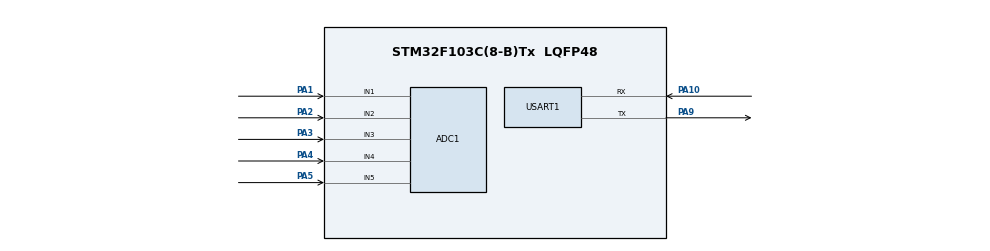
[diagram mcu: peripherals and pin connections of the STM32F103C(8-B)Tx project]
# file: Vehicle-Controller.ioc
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ADC1.Channel-10\#ChannelRegularConversion=ADC_CHANNEL_1
ADC1.Channel-11\#ChannelRegularConversion=ADC_CHANNEL_2
ADC1.Channel-12\#ChannelRegularConversion=ADC_CHANNEL_3
ADC1.Channel-13\#ChannelRegularConversion=ADC_CHANNEL_4
ADC1.Channel-14\#ChannelRegularConversion=ADC_CHANNEL_5
ADC1.ContinuousConvMode=ENABLE
ADC1.EnableRegularConversion=ENABLE
ADC1.NbrOfConversion=5
ADC1.NbrOfConversionFlag=1
ADC1.Rank-10\#ChannelRegularConversion=1
ADC1.Rank-11\#ChannelRegularConversion=2
ADC1.Rank-12\#ChannelRegularConversion=3
ADC1.Rank-13\#ChannelRegularConversion=4
ADC1.Rank-14\#ChannelRegularConversion=5
ADC1.SamplingTime-10\#ChannelRegularConversion=ADC_SAMPLETIME_28CYCLES_5
ADC1.SamplingTime-11\#ChannelRegularConversion=ADC_SAMPLETIME_28CYCLES_5
ADC1.SamplingTime-12\#ChannelRegularConversion=ADC_SAMPLETIME_28CYCLES_5
ADC1.SamplingTime-13\#ChannelRegularConversion=ADC_SAMPLETIME_28CYCLES_5
ADC1.SamplingTime-14\#ChannelRegularConversion=ADC_SAMPLETIME_28CYCLES_5
ADC1.master=1
Dma.ADC1.0.Direction=DMA_PERIPH_TO_MEMORY
Dma.ADC1.0.Instance=DMA1_Channel1
Dma.ADC1.0.MemDataAlignment=DMA_MDATAALIGN_HALFWORD
Dma.ADC1.0.MemInc=DMA_MINC_ENABLE
Dma.ADC1.0.Mode=DMA_CIRCULAR
Dma.ADC1.0.PeriphDataAlignment=DMA_PDATAALIGN_HALFWORD
Dma.ADC1.0.PeriphInc=DMA_PINC_DISABLE
Dma.ADC1.0.Priority=DMA_PRIORITY_LOW
Dma.Request0=ADC1
Mcu.Family=STM32F1
Mcu.Name=STM32F103C(8-B)Tx
Mcu.Package=LQFP48
NVIC.DMA1_Channel1_IRQn=true\:0\:0\:false\:false\:true\:false\:true\:true
NVIC.PriorityGroup=NVIC_PRIORITYGROUP_4
PA1.Signal=ADCx_IN1
PA10.Mode=Asynchronous
PA10.Signal=USART1_RX
PA2.Signal=ADCx_IN2
PA3.Signal=ADCx_IN3
PA4.Signal=ADCx_IN4
PA5.Signal=ADCx_IN5
PA9.Mode=Asynchronous
PA9.Signal=USART1_TX
ProjectManager.HeapSize=0x200
ProjectManager.StackSize=0x400
ProjectManager.TargetToolchain=STM32CubeIDE
RCC.APB1Freq_Value=8000000
RCC.APB2Freq_Value=8000000
SH.ADCx_IN1.0=ADC1_IN1,IN1
SH.ADCx_IN2.0=ADC1_IN2,IN2
SH.ADCx_IN3.0=ADC1_IN3,IN3
SH.ADCx_IN4.0=ADC1_IN4,IN4
SH.ADCx_IN5.0=ADC1_IN5,IN5
USART1.VirtualMode=VM_ASYNC
board=custom

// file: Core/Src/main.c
/* USER CODE BEGIN Header */
/**
  ******************************************************************************
  * @file           : main.c
  * @brief          : Main program body
  ******************************************************************************
  * @attention
  *
  * Copyright (c) 2023 STMicroelectronics.
  * All rights reserved.
  *
  * This software is licensed under terms that can be found in the LICENSE file
  * in the root directory of this software component.
  * If no LICENSE file comes with this software, it is provided AS-IS.
  *
  ******************************************************************************
  */
/* USER CODE END Header */
#include "main.h"

ADC_HandleTypeDef hadc1;
DMA_HandleTypeDef hdma_adc1;

UART_HandleTypeDef huart1;

/* USER CODE BEGIN PV */

volatile uint16_t adc_values[5];
uint16_t sequence_number = 0;

/* USER CODE END PV */

void SystemClock_Config(void);
static void MX_GPIO_Init(void);
static void MX_DMA_Init(void);
static void MX_USART1_UART_Init(void);
static void MX_ADC1_Init(void);

/* USER CODE BEGIN 0 */

// set printf's output to UART
int __io_putchar(int ch) {

	if(ch == '\n')
		HAL_UART_Transmit(&huart1, (uint8_t*)&"\r", 1, HAL_MAX_DELAY);

	HAL_UART_Transmit(&huart1, (uint8_t*)&ch, 1, HAL_MAX_DELAY);
	return ch;
}

/* USER CODE END 0 */

int main(void)
{

  /* MCU Configuration--------------------------------------------------------*/

  /* Reset of all peripherals, Initializes the Flash interface and the Systick. */
  HAL_Init();

  /* Configure the system clock */
  SystemClock_Config();

  /* Initialize all configured peripherals */
  MX_GPIO_Init();
  MX_DMA_Init();
  MX_USART1_UART_Init();
  MX_ADC1_Init();
  /* USER CODE BEGIN 2 */

  if(HAL_ADCEx_Calibration_Start(&hadc1) != HAL_OK) {
	  Error_Handler();
  }

  if(HAL_ADC_Start_DMA(&hadc1, (uint32_t*) &adc_values, 5) != HAL_OK) {
	  Error_Handler();
  }

  /* USER CODE END 2 */

  /* Infinite loop */
  /* USER CODE BEGIN WHILE */
  while (1)
  {
	  printf("sequence number   : %d\n", sequence_number);
	  printf("steering value    : %d\n", adc_values[0]);
	  printf("break pedal value : %d\n", adc_values[1]);
	  printf("gas pedal value   : %d\n", adc_values[2]);
	  printf("joy stick x value : %d\n", adc_values[3]);
	  printf("joy stick y value : %d\n", adc_values[4]);
	  printf("=============================\n");

	  HAL_Delay(1000);

    /* USER CODE END WHILE */

  }
}

void SystemClock_Config(void)
{
  RCC_OscInitTypeDef RCC_OscInitStruct = {0};
  RCC_ClkInitTypeDef RCC_ClkInitStruct = {0};
  RCC_PeriphCLKInitTypeDef PeriphClkInit = {0};

  /** Initializes the RCC Oscillators according to the specified parameters
  * in the RCC_OscInitTypeDef structure.
  */
  RCC_OscInitStruct.OscillatorType = RCC_OSCILLATORTYPE_HSI;
  RCC_OscInitStruct.HSIState = RCC_HSI_ON;
  RCC_OscInitStruct.HSICalibrationValue = RCC_HSICALIBRATION_DEFAULT;
  RCC_OscInitStruct.PLL.PLLState = RCC_PLL_NONE;
  if (HAL_RCC_OscConfig(&RCC_OscInitStruct) != HAL_OK)
  {
    Error_Handler();
  }

  /** Initializes the CPU, AHB and APB buses clocks
  */
  RCC_ClkInitStruct.ClockType = RCC_CLOCKTYPE_HCLK|RCC_CLOCKTYPE_SYSCLK
                              |RCC_CLOCKTYPE_PCLK1|RCC_CLOCKTYPE_PCLK2;
  RCC_ClkInitStruct.SYSCLKSource = RCC_SYSCLKSOURCE_HSI;
  RCC_ClkInitStruct.AHBCLKDivider = RCC_SYSCLK_DIV1;
  RCC_ClkInitStruct.APB1CLKDivider = RCC_HCLK_DIV1;
  RCC_ClkInitStruct.APB2CLKDivider = RCC_HCLK_DIV1;

  if (HAL_RCC_ClockConfig(&RCC_ClkInitStruct, FLASH_LATENCY_0) != HAL_OK)
  {
    Error_Handler();
  }
  PeriphClkInit.PeriphClockSelection = RCC_PERIPHCLK_ADC;
  PeriphClkInit.AdcClockSelection = RCC_ADCPCLK2_DIV2;
  if (HAL_RCCEx_PeriphCLKConfig(&PeriphClkInit) != HAL_OK)
  {
    Error_Handler();
  }
}

static void MX_ADC1_Init(void)
{

  ADC_ChannelConfTypeDef sConfig = {0};

  /** Common config
  */
  hadc1.Instance = ADC1;
  hadc1.Init.ScanConvMode = ADC_SCAN_ENABLE;
  hadc1.Init.ContinuousConvMode = ENABLE;
  hadc1.Init.DiscontinuousConvMode = DISABLE;
  hadc1.Init.ExternalTrigConv = ADC_SOFTWARE_START;
  hadc1.Init.DataAlign = ADC_DATAALIGN_RIGHT;
  hadc1.Init.NbrOfConversion = 5;
  if (HAL_ADC_Init(&hadc1) != HAL_OK)
  {
    Error_Handler();
  }

  /** Configure Regular Channel
  */
  sConfig.Channel = ADC_CHANNEL_1;
  sConfig.Rank = ADC_REGULAR_RANK_1;
  sConfig.SamplingTime = ADC_SAMPLETIME_28CYCLES_5;
  if (HAL_ADC_ConfigChannel(&hadc1, &sConfig) != HAL_OK)
  {
    Error_Handler();
  }

  /** Configure Regular Channel
  */
  sConfig.Channel = ADC_CHANNEL_2;
  sConfig.Rank = ADC_REGULAR_RANK_2;
  if (HAL_ADC_ConfigChannel(&hadc1, &sConfig) != HAL_OK)
  {
    Error_Handler();
  }

  /** Configure Regular Channel
  */
  sConfig.Channel = ADC_CHANNEL_3;
  sConfig.Rank = ADC_REGULAR_RANK_3;
  if (HAL_ADC_ConfigChannel(&hadc1, &sConfig) != HAL_OK)
  {
    Error_Handler();
  }

  /** Configure Regular Channel
  */
  sConfig.Channel = ADC_CHANNEL_4;
  sConfig.Rank = ADC_REGULAR_RANK_4;
  if (HAL_ADC_ConfigChannel(&hadc1, &sConfig) != HAL_OK)
  {
    Error_Handler();
  }

  /** Configure Regular Channel
  */
  sConfig.Channel = ADC_CHANNEL_5;
  sConfig.Rank = ADC_REGULAR_RANK_5;
  if (HAL_ADC_ConfigChannel(&hadc1, &sConfig) != HAL_OK)
  {
    Error_Handler();
  }

}

static void MX_USART1_UART_Init(void)
{

  huart1.Instance = USART1;
  huart1.Init.BaudRate = 115200;
  huart1.Init.WordLength = UART_WORDLENGTH_8B;
  huart1.Init.StopBits = UART_STOPBITS_1;
  huart1.Init.Parity = UART_PARITY_NONE;
  huart1.Init.Mode = UART_MODE_TX_RX;
  huart1.Init.HwFlowCtl = UART_HWCONTROL_NONE;
  huart1.Init.OverSampling = UART_OVERSAMPLING_16;
  if (HAL_UART_Init(&huart1) != HAL_OK)
  {
    Error_Handler();
  }

}

static void MX_DMA_Init(void)
{

  /* DMA controller clock enable */
  __HAL_RCC_DMA1_CLK_ENABLE();

  /* DMA interrupt init */
  /* DMA1_Channel1_IRQn interrupt configuration */
  HAL_NVIC_SetPriority(DMA1_Channel1_IRQn, 0, 0);
  HAL_NVIC_EnableIRQ(DMA1_Channel1_IRQn);

}

static void MX_GPIO_Init(void)
{

  /* GPIO Ports Clock Enable */
  __HAL_RCC_GPIOA_CLK_ENABLE();

}

void Error_Handler(void)
{
  __disable_irq();
  while (1)
  {
  }
}
